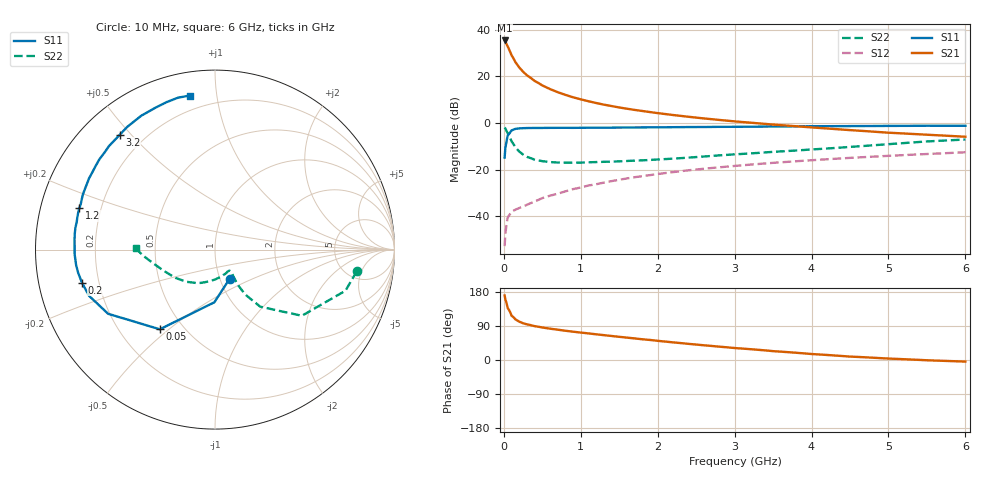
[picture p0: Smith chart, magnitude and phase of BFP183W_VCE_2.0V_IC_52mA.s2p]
! Infineon Technologies  Discrete & RF Semiconductors
! BFP183W
! VCE =  2.0 V,  IC =  52 mA
! Common Emitter S-Parameters:  Jan 2017
# GHz  S  MA  R  50
!  f  S11  S21  S12  S22
! GHz  MAG  ANG  MAG  ANG  MAG  ANG  MAG  ANG
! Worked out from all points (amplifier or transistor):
!   77 points, 10 MHz to 6 GHz, reference 50 ohm
!   highest |S21| = 35.3 dB at 10 MHz (marker M1)
!   |S21| within 3 dB of that: start of sweep to 56.65 MHz
!   unconditionally stable (mu >= 1): start of sweep to 13.38 MHz; 324.5 MHz to end of sweep
!   at 130 MHz: K = 0.59, MSG = 32.4 dB, |S12| = -37.5 dB
!   at 2.2 GHz: K = 1.26, MAG = 9.2 dB, |S12| = -21.1 dB
!   at 6 GHz: K = 1.04, MAG = 2.1 dB, |S12| = -12.6 dB
!   S11 on the Smith chart (normalised r, x): 10 MHz: 1.11, -0.37; 50 MHz: 0.37, -0.47; 200 MHz: 0.14, -0.12; 1.2 GHz: 0.12, +0.15; 3.2 GHz: 0.11, +0.46; 6 GHz: 0.12, +0.84
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0.01  0.1812 -63.0  58.42 170.4  0.0023 81.3  0.7991 -8.7
0.02  0.2937 -90.7  56 159.9  0.0042 77.6  0.7621 -17.5
0.05  0.5399 -124.7  43.64 137.1  0.0094 55.4  0.6085 -37.3
0.1  0.6946 -149.0  28.22 116.9  0.0124 47.1  0.4057 -51.6
0.15  0.7473 -159.8  20.14 107.3  0.0139 43.2  0.3006 -56.1
0.2  0.7641 -166.1  15.46 101.2  0.0151 45.0  0.2449 -56.9
0.25  0.7733 -170.4  12.53 97.0  0.0162 46.9  0.2107 -56.6
0.3  0.7785 -173.6  10.5 94.1  0.0177 48.8  0.1883 -55.8
0.4  0.7825 -178.1  7.947 89.3  0.0207 54.0  0.1638 -54.7
0.5  0.7825 178.4  6.368 85.8  0.0246 58.0  0.1521 -54.4
0.6  0.7848 175.7  5.321 82.7  0.0277 60.6  0.1454 -55.0
0.7  0.7864 173.3  4.56 80.0  0.0305 64.1  0.142 -55.7
0.9  0.7856 168.7  3.543 74.7  0.0383 65.1  0.1411 -59.3
1.1  0.7896 164.9  2.916 70.2  0.0458 66.8  0.1439 -63.3
1.2  0.7905 162.9  2.673 67.8  0.0487 66.7  0.1453 -65.5
1.6  0.7988 155.8  2.019 59.0  0.0649 67.3  0.1535 -76.2
2.1  0.8091 146.8  1.551 48.6  0.0846 65.5  0.1685 -92.0
3.1  0.8288 131.2  1.048 30.2  0.124 59.7  0.2175 -121.8
3.2  0.831 129.8  1.016 28.6  0.128 59.0  0.2226 -124.5
4.1  0.8521 117.6  0.782 14.6  0.163 52.5  0.2769 -147.2
5.1  0.8656 107.2  0.607 3.0  0.2013 44.9  0.361 -169.1
6  0.8696 99.2  0.507 -4.3  0.2355 37.6  0.4424 179.1
